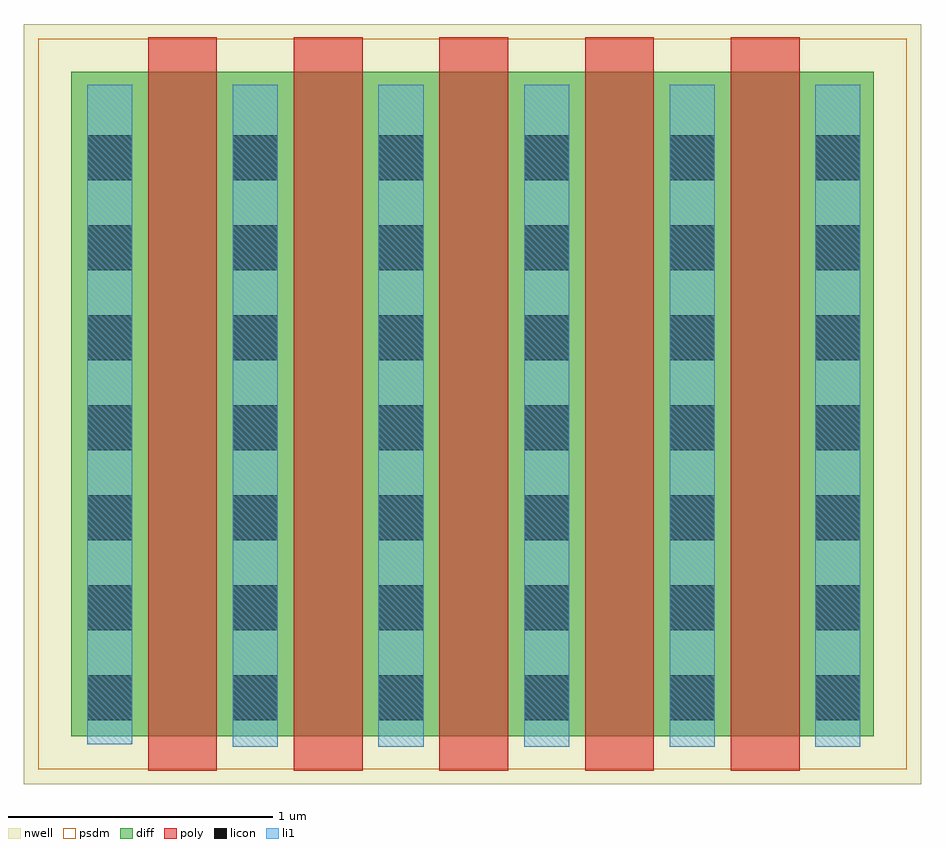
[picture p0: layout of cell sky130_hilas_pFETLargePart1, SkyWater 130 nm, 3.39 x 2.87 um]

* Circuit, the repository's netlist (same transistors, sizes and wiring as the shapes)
* Copyright 2020 The Hilas PDK Authors
* 
* This file is part of HILAS.
* 
* HILAS is free software: you can redistribute it and/or modify
* it under the terms of the GNU Lesser General Public License as published by
* the Free Software Foundation, version 3 of the License.
* 
* HILAS is distributed in the hope that it will be useful,
* but WITHOUT ANY WARRANTY; without even the implied warranty of
* MERCHANTABILITY or FITNESS FOR A PARTICULAR PURPOSE.  See the
* GNU Lesser General Public License for more details.
* 
* You should have received a copy of the GNU Lesser General Public License
* along with HILAS.  If not, see <https://www.gnu.org/licenses/>.
* 
* Licensed under the Lesser General Public License, Version 3.0 (the "License");
* you may not use this file except in compliance with the License.
* You may obtain a copy of the License at
* 
* https://www.gnu.org/licenses/lgpl-3.0.en.html
* 
* Unless required by applicable law or agreed to in writing, software
* distributed under the License is distributed on an "AS IS" BASIS,
* WITHOUT WARRANTIES OR CONDITIONS OF ANY KIND, either express or implied.
* See the License for the specific language governing permissions and
* limitations under the License.
* 
* SPDX-License-Identifier: LGPL-3.0
* 
* 

* NGSPICE file created from sky130_hilas_pFETLargePart1.ext - technology: sky130A

.subckt sky130_hilas_pFETmed SUB a_440_n8# w_294_n44# a_330_n8#
X0 a_440_n8# a_388_n34# a_330_n8# w_294_n44# sky130_fd_pr__pfet_01v8 w=2.51e+06u l=260000u
.ends


* Top level circuit sky130_hilas_pFETLargePart1

Xsky130_hilas_pFETmed_0 SUB sky130_hilas_pFETmed_1/a_330_n8# sky130_hilas_pFETmed_4/w_294_n44#
+ sky130_hilas_pFETmed_4/a_440_n8# sky130_hilas_pFETmed
Xsky130_hilas_pFETmed_2 SUB sky130_hilas_pFETmed_3/a_330_n8# sky130_hilas_pFETmed_4/w_294_n44#
+ sky130_hilas_pFETmed_2/a_330_n8# sky130_hilas_pFETmed
Xsky130_hilas_pFETmed_1 SUB sky130_hilas_pFETmed_2/a_330_n8# sky130_hilas_pFETmed_4/w_294_n44#
+ sky130_hilas_pFETmed_1/a_330_n8# sky130_hilas_pFETmed
Xsky130_hilas_pFETmed_3 SUB sky130_hilas_pFETmed_3/a_440_n8# sky130_hilas_pFETmed_4/w_294_n44#
+ sky130_hilas_pFETmed_3/a_330_n8# sky130_hilas_pFETmed
Xsky130_hilas_pFETmed_4 SUB sky130_hilas_pFETmed_4/a_440_n8# sky130_hilas_pFETmed_4/w_294_n44#
+ sky130_hilas_pFETmed_4/a_330_n8# sky130_hilas_pFETmed
.end

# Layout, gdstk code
import gdstk
lib = gdstk.Library(unit=1e-6, precision=1e-09)
def R(c, l, rs):  # rectangles x0, y0, x1, y1
    for r in rs: c.add(gdstk.rectangle(r[:2], r[2:], *l))
def A(c, l, x, y, w, h, nx, ny, dx, dy):  # array of equal rectangles
    R(c, l, [(x+i*dx, y+j*dy, x+i*dx+w, y+j*dy+h) for i in range(nx) for j in range(ny)])
nwell = (64, 20)
diff = (65, 20)
poly = (66, 20)
licon = (66, 44)
li1 = (67, 20)
psdm = (94, 20)

sky130_hilas_pfetmed = lib.new_cell('sky130_hilas_pFETmed')
R(sky130_hilas_pfetmed, nwell, [(1.47,-0.22,2.66,2.65)])
R(sky130_hilas_pfetmed, diff, [(1.65,-0.04,2.48,2.47)])
R(sky130_hilas_pfetmed, poly, [(1.94,-0.17,2.2,2.6)])
A(sky130_hilas_pfetmed, licon, 1.71, 0.02, 0.17, 0.17, 1, 7, 0, 0.34)
A(sky130_hilas_pfetmed, licon, 2.26, 0.02, 0.17, 0.17, 1, 7, 0, 0.34)
R(sky130_hilas_pfetmed, li1, [(2.26,-0.08,2.43,2.42), (1.71,-0.07,1.88,2.42)])
R(sky130_hilas_pfetmed, psdm, [(1.525,-0.165,2.605,2.595)])

sky130_hilas_pfetlargepa = lib.new_cell('sky130_hilas_pFETLargePart1')
sky130_hilas_pfetlargepa.add(gdstk.Reference(sky130_hilas_pfetmed, (0.12,0.13)))
sky130_hilas_pfetlargepa.add(gdstk.Reference(sky130_hilas_pfetmed, (-0.43,0.13)))
sky130_hilas_pfetlargepa.add(gdstk.Reference(sky130_hilas_pfetmed, (-0.98,0.13)))
sky130_hilas_pfetlargepa.add(gdstk.Reference(sky130_hilas_pfetmed, (-1.53,0.13)))
sky130_hilas_pfetlargepa.add(gdstk.Reference(sky130_hilas_pfetmed, (0.67,0.13)))

lib.write_gds('sky130_hilas_pFETLargePart1.gds')
